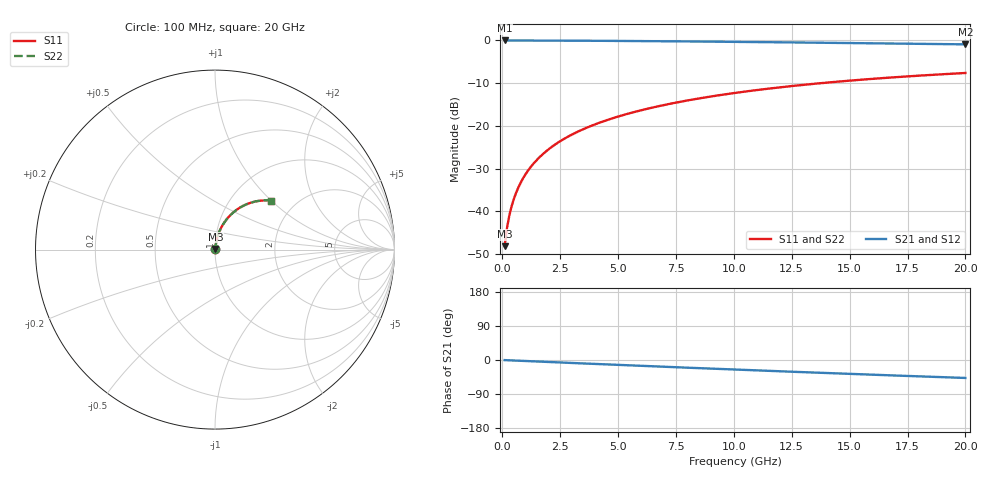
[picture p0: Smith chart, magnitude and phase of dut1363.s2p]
! Touchstone file exported from HFSS 2026.1.0
!  File:  C:/ffzhzh/LocalFiles/Ansys_Project_Files/temp_train_TMRDL_1363_1783165736_43440.aedt
!  Generated:  07:50:21 PM Jul  4, 2026
!  Design:  TMRDL
!  Project:  temp_train_TMRDL_1363_1783165736_43440
! Variables:
!  h_bsmrdl = 2um
!  h_ox = 20um
!  h_rdl = 5um
!  h_sub = 80um
!  h_tmrdl = 5.2um
!  h_tsv = 80um
!  h_via = 3um
!  l_bsmrdl = 300um
!  l_sub = 1120.3um
!  l_tmrdl = 720.3um
!  m_sub = 200um
!  pitch = 46.7um
!  r_tsv = 6um
!  s_tmrdl = 10um
!  w_bsmrdl = 18um
!  w_sub = 500um
!  w_tmrdl = 19.65um
!  x_tsv_center1 = 730.125um
!  x_tsv_center2 = 1048.125um
!  x_tsv_center3 = 1788.075um
!  x_tsv_center4 = 2106.075um
!  x_tsv_center5 = 2846.025um
!  x_tsv_center6 = 3164.025um
# GHz S MA R 50.000000
! Terminal data exported
! Port[1] = TM_RDL1_1_T1
! Port[2] = TM_RDL1_1_T2
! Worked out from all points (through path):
!   200 points, 100 MHz to 20 GHz, reference 50 ohm
!   highest |S21| = -0.02 dB at 100 MHz (marker M1); lowest = -0.9 dB at 20 GHz (marker M2)
!   group delay of S21, straight-line fit = 6.58 ps
!   lowest |S11| = -48.2 dB at 100 MHz (marker M3), VSWR 1.01, Z = 50.3 + j0.287 ohm
!   |S11| at or under -10 dB: start of sweep to 13.8 GHz
!   |S22| runs from -48.2 to -7.6 dB; largest |S21 - S12| = 2e-14
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0.1  0.0039 47.1  0.9974 -0.3  0.9974 -0.3  0.0039 47.1
! Gamma 0 0 0 0
! Port Impedance 50 0 50 0
0.2  0.006285 63.1  0.9972 -0.5  0.9972 -0.5  0.006285 63.1
0.3  0.008808 69.8  0.997 -0.8  0.997 -0.8  0.008808 69.8
0.4  0.01136 73.5  0.9969 -1.1  0.9969 -1.1  0.01136 73.5
0.5  0.01394 75.8  0.9968 -1.3  0.9968 -1.3  0.01394 75.8
0.7  0.01913 78.5  0.9966 -1.9  0.9966 -1.9  0.01913 78.5
0.8  0.02174 79.2  0.9965 -2.1  0.9965 -2.1  0.02174 79.2
1  0.02698 80.2  0.9963 -2.6  0.9963 -2.6  0.02698 80.2
1.2  0.03222 80.6  0.996 -3.2  0.996 -3.2  0.03222 80.6
1.4  0.03746 80.8  0.9957 -3.7  0.9957 -3.7  0.03746 80.8
1.7  0.0453 80.7  0.9952 -4.5  0.9952 -4.5  0.0453 80.7
2  0.05311 80.4  0.9945 -5.2  0.9945 -5.2  0.05311 80.4
2.7  0.07113 79.2  0.9928 -7.1  0.9928 -7.1  0.07113 79.2
3.5  0.09137 77.5  0.9904 -9.1  0.9904 -9.1  0.09137 77.5
4.2  0.1088 75.9  0.9881 -10.9  0.9881 -10.9  0.1088 76.0
5  0.1283 74.1  0.9851 -12.9  0.9851 -12.9  0.1283 74.1
6.8  0.1708 70.0  0.9773 -17.4  0.9773 -17.4  0.1708 70.0
8.3  0.2047 66.5  0.97 -21.0  0.97 -21.0  0.2047 66.5
10.1  0.2436 62.4  0.9603 -25.3  0.9603 -25.3  0.2436 62.4
13.4  0.3089 55.0  0.9405 -33.0  0.9405 -33.0  0.3089 55.0
16.7  0.3661 47.9  0.9193 -40.4  0.9193 -40.4  0.3661 47.9
20  0.4149 41.0  0.8982 -47.4  0.8982 -47.4  0.4149 41.1
